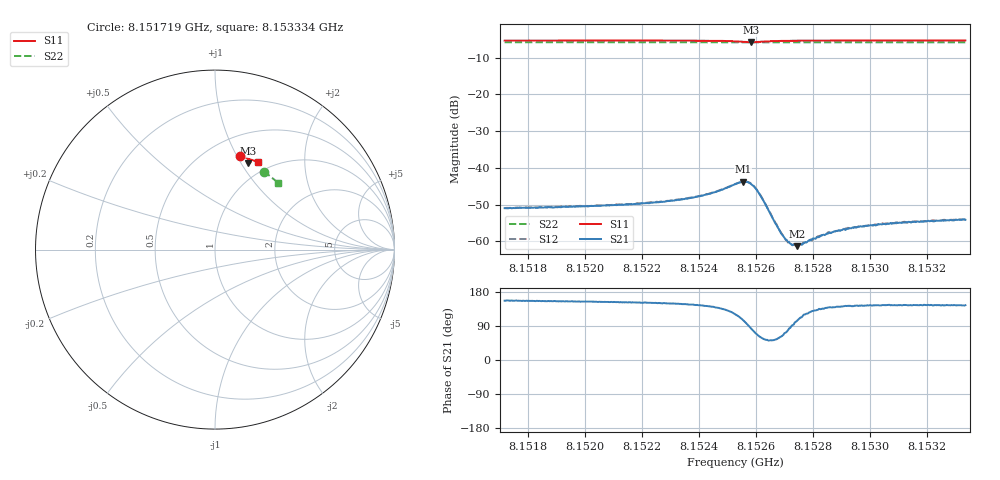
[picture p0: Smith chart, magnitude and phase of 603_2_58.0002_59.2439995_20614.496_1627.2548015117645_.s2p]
#  HZ  S  RI  R  50.00
! Rohde & Schwarz Vector Network Analyzer
! Rohde-Schwarz,ZNB20-2Port,1311601062101988,3.16
! Created: UTC 3/21/2024, 1:17:18 AM
! freq[Hz]  re:S11  im:S11  re:S21  im:S21  re:S12  im:S12  re:S22  im:S22
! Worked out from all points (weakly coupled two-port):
!   401 points, 8.151719 GHz to 8.153334 GHz, reference 50 ohm
!   highest |S21| = -43.76 dB at 8.152555 GHz (marker M1); lowest = -61.3 dB at 8.152745 GHz (marker M2)
!   lowest |S11| = -5.8 dB at 8.152583 GHz (marker M3), VSWR 3.12, Z = 41.1 + j53.7 ohm
!   |S11| at or under -10 dB: nowhere
!   |S22| runs from -5.8 to -5.8 dB; largest |S21 - S12| = 0.00011
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8.1517191e9  0.1385 0.522  -0.00259 0.00112  -0.00258 0.00116  0.2721 0.434
8.1519896e9  0.1577 0.517  -0.0027 0.0013  -0.00268 0.00135  0.2864 0.4242
8.1522601e9  0.1775 0.5104  -0.00296 0.00167  -0.00294 0.00175  0.3004 0.414
8.1524095e9  0.1901 0.5043  -0.00338 0.00245  -0.00334 0.00253  0.3079 0.4081
8.152462e9  0.1949 0.5001  -0.00354 0.00314  -0.0035 0.00322  0.3105 0.4058
8.1525266e9  0.199 0.4889  -0.00311 0.00511  -0.00307 0.00517  0.3136 0.403
8.1525548e9  0.1953 0.4816  -0.00173 0.00625  -0.00168 0.0063  0.3148 0.4016
8.152571e9  0.1898 0.4793  -0.00035 0.00638  -0.000296 0.00642  0.3153 0.401
8.1525831e9  0.1851 0.4797  0.000732 0.00596  0.000804 0.00605  0.3157 0.4006
8.1525992e9  0.1802 0.4835  0.00175 0.00492  0.00182 0.00495  0.3163 0.4002
8.1526154e9  0.1785 0.4888  0.00205 0.00367  0.00214 0.00369  0.3173 0.3998
8.1526759e9  0.1859 0.5  0.000864 0.0013  0.000915 0.00128  0.3204 0.3976
8.1526961e9  0.189 0.501  0.000468 0.00107  0.000478 0.00108  0.3213 0.397
8.1527042e9  0.1901 0.5012  0.000323 0.00101  0.000346 0.000992  0.3218 0.3965
8.1527203e9  0.1922 0.5016  8.34e-05 0.000925  0.000101 0.000923  0.3228 0.3959
8.1527446e9  0.1953 0.5015  -0.00021 0.000832  -0.000202 0.00085  0.324 0.3951
8.1527688e9  0.1979 0.5013  -0.000482 0.000824  -0.00044 0.000837  0.3252 0.394
8.1527971e9  0.2007 0.5009  -0.000682 0.000833  -0.000624 0.000813  0.3266 0.3928
8.1528617e9  0.2064 0.4994  -0.000982 0.000841  -0.000947 0.000885  0.3297 0.39
8.1529141e9  0.2106 0.4983  -0.00114 0.000861  -0.00117 0.000935  0.3321 0.3878
8.1530676e9  0.2219 0.4942  -0.00143 0.000978  -0.00142 0.00103  0.3396 0.3812
8.153334e9  0.2398 0.4864  -0.0016 0.00114  -0.00159 0.00119  0.3519 0.3694
